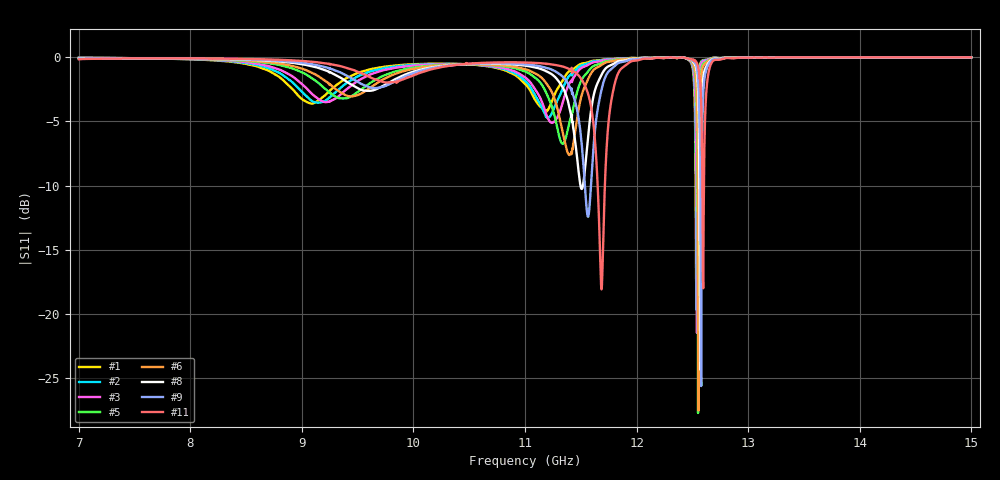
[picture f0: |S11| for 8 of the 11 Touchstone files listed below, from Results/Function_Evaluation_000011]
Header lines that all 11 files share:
! TOUCHSTONE file generated by CST DESIGN STUDIO
! Project name: C:\Work\MatlabApps\UnitCellType2OptimizationMatlab\CST\unitcell.cst
! Tree item: Tasks\Sweep1\SPara1\S-Parameters
! Header version: 2024
! Port assignment regex: !\s*Touchstone port\s*([0-9]+)\s*=\s*(CST MWS port|CST DES external port|CST DES block port)\s*(.+)\s* \(\"(.*)\"\)(\s*mode\s*([0-9]+))?.*
! Touchstone port assignment:
! Touchstone port 1 = CST DES external port 1 ("")
# GHz S MA R 50
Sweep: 7 GHz to 15 GHz
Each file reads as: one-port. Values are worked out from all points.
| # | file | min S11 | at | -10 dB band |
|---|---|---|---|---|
| 1 | DS_for_MWS-run-0001.s1p | -17.9 dB | 12.54 GHz | 9.16 MHz wide |
| 2 | DS_for_MWS-run-0002.s1p | -19.7 dB | 12.54 GHz | 9.697 MHz wide |
| 3 | DS_for_MWS-run-0003.s1p | -21.5 dB | 12.54 GHz | 9.555 MHz wide |
| 4 | DS_for_MWS-run-0004.s1p | -22.9 dB | 12.55 GHz | 10.25 MHz wide |
| 5 | DS_for_MWS-run-0005.s1p | -27.7 dB | 12.55 GHz | 9.637 MHz wide |
| 6 | DS_for_MWS-run-0006.s1p | -27.5 dB | 12.56 GHz | 9.484 MHz wide |
| 7 | DS_for_MWS-run-0007.s1p | -26.8 dB | 12.56 GHz | 12.83 MHz wide |
| 8 | DS_for_MWS-run-0008.s1p | -24.3 dB | 12.57 GHz | 21.81 MHz wide |
| 9 | DS_for_MWS-run-0009.s1p | -25.6 dB | 12.58 GHz | 53.91 MHz wide |
| 10 | DS_for_MWS-run-0010.s1p | -22.3 dB | 12.59 GHz | 61.7 MHz wide |
| 11 | DS_for_MWS-run-0011.s1p | -18.1 dB | 11.69 GHz | 64.38 MHz wide |
